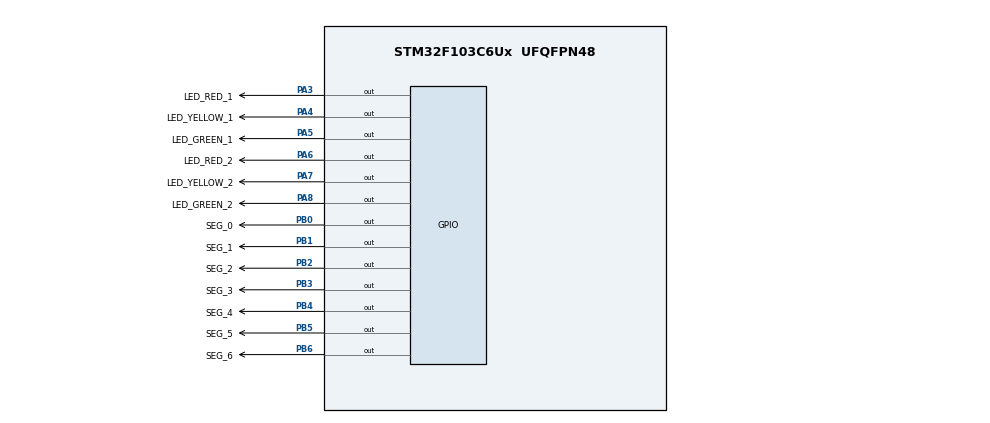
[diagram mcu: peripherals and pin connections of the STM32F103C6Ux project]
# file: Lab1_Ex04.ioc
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Mcu.Family=STM32F1
Mcu.Name=STM32F103C6Ux
Mcu.Package=UFQFPN48
NVIC.PriorityGroup=NVIC_PRIORITYGROUP_4
PA3.GPIO_Label=LED_RED_1
PA3.Signal=GPIO_Output
PA4.GPIO_Label=LED_YELLOW_1
PA4.Signal=GPIO_Output
PA5.GPIO_Label=LED_GREEN_1
PA5.Signal=GPIO_Output
PA6.GPIO_Label=LED_RED_2
PA6.Signal=GPIO_Output
PA7.GPIO_Label=LED_YELLOW_2
PA7.Signal=GPIO_Output
PA8.GPIO_Label=LED_GREEN_2
PA8.Signal=GPIO_Output
PB0.GPIO_Label=SEG_0
PB0.Signal=GPIO_Output
PB1.GPIO_Label=SEG_1
PB1.Signal=GPIO_Output
PB2.GPIO_Label=SEG_2
PB2.Signal=GPIO_Output
PB3.GPIO_Label=SEG_3
PB3.Signal=GPIO_Output
PB4.GPIO_Label=SEG_4
PB4.Signal=GPIO_Output
PB5.GPIO_Label=SEG_5
PB5.Signal=GPIO_Output
PB6.GPIO_Label=SEG_6
PB6.Signal=GPIO_Output
ProjectManager.HeapSize=0x200
ProjectManager.StackSize=0x400
ProjectManager.TargetToolchain=STM32CubeIDE
RCC.APB1Freq_Value=8000000
RCC.APB2Freq_Value=8000000
VP_SYS_VS_ND.Mode=No_Debug
board=custom

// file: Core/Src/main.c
/* USER CODE BEGIN Header */
/**
  ******************************************************************************
  * @file           : main.c
  * @brief          : Main program body
  ******************************************************************************
  * @attention
  *
  * <h2><center>&copy; Copyright (c) 2022 STMicroelectronics.
  * All rights reserved.</center></h2>
  *
  * This software component is licensed by ST under BSD 3-Clause license,
  * the "License"; You may not use this file except in compliance with the
  * License. You may obtain a copy of the License at:
  *                        opensource.org/licenses/BSD-3-Clause
  *
  ******************************************************************************
  */
/* USER CODE END Header */
#include "main.h"

void SystemClock_Config(void);
static void MX_GPIO_Init(void);

/* USER CODE BEGIN 0 */
void display7SEG (int num){
	if( num == 0){
		HAL_GPIO_WritePin(SEG_0_GPIO_Port, SEG_0_Pin, GPIO_PIN_RESET);
		HAL_GPIO_WritePin(SEG_1_GPIO_Port, SEG_1_Pin, GPIO_PIN_RESET);
		HAL_GPIO_WritePin(SEG_2_GPIO_Port, SEG_2_Pin, GPIO_PIN_RESET);
		HAL_GPIO_WritePin(SEG_3_GPIO_Port, SEG_3_Pin, GPIO_PIN_RESET);
		HAL_GPIO_WritePin(SEG_4_GPIO_Port, SEG_4_Pin, GPIO_PIN_RESET);
		HAL_GPIO_WritePin(SEG_5_GPIO_Port, SEG_5_Pin, GPIO_PIN_RESET);
		HAL_GPIO_WritePin(SEG_6_GPIO_Port, SEG_6_Pin,GPIO_PIN_SET);
	}

	if(num == 1){
		HAL_GPIO_WritePin(SEG_0_GPIO_Port, SEG_0_Pin, GPIO_PIN_SET);
		HAL_GPIO_WritePin(SEG_1_GPIO_Port, SEG_1_Pin, GPIO_PIN_RESET);
		HAL_GPIO_WritePin(SEG_2_GPIO_Port, SEG_2_Pin, GPIO_PIN_RESET);
		HAL_GPIO_WritePin(SEG_3_GPIO_Port, SEG_3_Pin, GPIO_PIN_SET );
		HAL_GPIO_WritePin(SEG_4_GPIO_Port, SEG_4_Pin, GPIO_PIN_SET);
		HAL_GPIO_WritePin(SEG_5_GPIO_Port, SEG_5_Pin, GPIO_PIN_SET);
		HAL_GPIO_WritePin(SEG_6_GPIO_Port, SEG_6_Pin, GPIO_PIN_SET);
	}

	if(num == 2){
		HAL_GPIO_WritePin(SEG_0_GPIO_Port, SEG_0_Pin, GPIO_PIN_RESET);
		HAL_GPIO_WritePin(SEG_1_GPIO_Port, SEG_1_Pin, GPIO_PIN_RESET);
		HAL_GPIO_WritePin(SEG_2_GPIO_Port, SEG_2_Pin, GPIO_PIN_SET);
		HAL_GPIO_WritePin(SEG_3_GPIO_Port, SEG_3_Pin, GPIO_PIN_RESET);
		HAL_GPIO_WritePin(SEG_4_GPIO_Port, SEG_4_Pin, GPIO_PIN_RESET);
		HAL_GPIO_WritePin(SEG_5_GPIO_Port, SEG_5_Pin, GPIO_PIN_SET);
		HAL_GPIO_WritePin(SEG_6_GPIO_Port, SEG_6_Pin, GPIO_PIN_RESET);
	}

	if(num == 3){
		HAL_GPIO_WritePin(SEG_0_GPIO_Port, SEG_0_Pin, GPIO_PIN_RESET);
		HAL_GPIO_WritePin(SEG_1_GPIO_Port, SEG_1_Pin, GPIO_PIN_RESET);
		HAL_GPIO_WritePin(SEG_2_GPIO_Port, SEG_2_Pin, GPIO_PIN_RESET);
		HAL_GPIO_WritePin(SEG_3_GPIO_Port, SEG_3_Pin, GPIO_PIN_RESET);
		HAL_GPIO_WritePin(SEG_4_GPIO_Port, SEG_4_Pin, GPIO_PIN_SET);
		HAL_GPIO_WritePin(SEG_5_GPIO_Port, SEG_5_Pin, GPIO_PIN_SET);
		HAL_GPIO_WritePin(SEG_6_GPIO_Port, SEG_6_Pin, GPIO_PIN_RESET);
	}

	if(num == 4){
		HAL_GPIO_WritePin(SEG_0_GPIO_Port, SEG_0_Pin, GPIO_PIN_SET);
		HAL_GPIO_WritePin(SEG_1_GPIO_Port, SEG_1_Pin, GPIO_PIN_RESET);
		HAL_GPIO_WritePin(SEG_2_GPIO_Port, SEG_2_Pin, GPIO_PIN_RESET);
		HAL_GPIO_WritePin(SEG_3_GPIO_Port, SEG_3_Pin, GPIO_PIN_SET);
		HAL_GPIO_WritePin(SEG_4_GPIO_Port, SEG_4_Pin, GPIO_PIN_SET);
		HAL_GPIO_WritePin(SEG_5_GPIO_Port, SEG_5_Pin, GPIO_PIN_RESET);
		HAL_GPIO_WritePin(SEG_6_GPIO_Port, SEG_6_Pin, GPIO_PIN_RESET);
	}

	if(num == 5){
		HAL_GPIO_WritePin(SEG_0_GPIO_Port, SEG_0_Pin, GPIO_PIN_RESET);
		HAL_GPIO_WritePin(SEG_1_GPIO_Port, SEG_1_Pin, GPIO_PIN_SET);
		HAL_GPIO_WritePin(SEG_2_GPIO_Port, SEG_2_Pin, GPIO_PIN_RESET);
		HAL_GPIO_WritePin(SEG_3_GPIO_Port, SEG_3_Pin, GPIO_PIN_RESET);
		HAL_GPIO_WritePin(SEG_4_GPIO_Port, SEG_4_Pin, GPIO_PIN_SET);
		HAL_GPIO_WritePin(SEG_5_GPIO_Port, SEG_5_Pin, GPIO_PIN_RESET);
		HAL_GPIO_WritePin(SEG_6_GPIO_Port, SEG_6_Pin, GPIO_PIN_RESET);
	}

	if(num == 6){
		HAL_GPIO_WritePin(SEG_0_GPIO_Port, SEG_0_Pin, GPIO_PIN_RESET);
		HAL_GPIO_WritePin(SEG_1_GPIO_Port, SEG_1_Pin, GPIO_PIN_SET);
		HAL_GPIO_WritePin(SEG_2_GPIO_Port, SEG_2_Pin, GPIO_PIN_RESET);
		HAL_GPIO_WritePin(SEG_3_GPIO_Port, SEG_3_Pin, GPIO_PIN_RESET);
		HAL_GPIO_WritePin(SEG_4_GPIO_Port, SEG_4_Pin, GPIO_PIN_RESET);
		HAL_GPIO_WritePin(SEG_5_GPIO_Port, SEG_5_Pin, GPIO_PIN_RESET);
		HAL_GPIO_WritePin(SEG_6_GPIO_Port, SEG_6_Pin, GPIO_PIN_RESET);
	}

	if(num == 7){
		HAL_GPIO_WritePin(SEG_0_GPIO_Port, SEG_0_Pin, GPIO_PIN_RESET);
		HAL_GPIO_WritePin(SEG_1_GPIO_Port, SEG_1_Pin, GPIO_PIN_RESET);
		HAL_GPIO_WritePin(SEG_2_GPIO_Port, SEG_2_Pin, GPIO_PIN_RESET);
		HAL_GPIO_WritePin(SEG_3_GPIO_Port, SEG_3_Pin, GPIO_PIN_SET);
		HAL_GPIO_WritePin(SEG_4_GPIO_Port, SEG_4_Pin, GPIO_PIN_SET);
		HAL_GPIO_WritePin(SEG_5_GPIO_Port, SEG_5_Pin, GPIO_PIN_SET);
		HAL_GPIO_WritePin(SEG_6_GPIO_Port, SEG_6_Pin, GPIO_PIN_SET);
	}

	if(num == 8){
		HAL_GPIO_WritePin(SEG_0_GPIO_Port, SEG_0_Pin, GPIO_PIN_RESET);
		HAL_GPIO_WritePin(SEG_1_GPIO_Port, SEG_1_Pin, GPIO_PIN_RESET);
		HAL_GPIO_WritePin(SEG_2_GPIO_Port, SEG_2_Pin, GPIO_PIN_RESET);
		HAL_GPIO_WritePin(SEG_3_GPIO_Port, SEG_3_Pin, GPIO_PIN_RESET);
		HAL_GPIO_WritePin(SEG_4_GPIO_Port, SEG_4_Pin, GPIO_PIN_RESET);
		HAL_GPIO_WritePin(SEG_5_GPIO_Port, SEG_5_Pin, GPIO_PIN_RESET);
		HAL_GPIO_WritePin(SEG_6_GPIO_Port, SEG_6_Pin, GPIO_PIN_RESET);
	}

	if(num == 9){
		HAL_GPIO_WritePin(SEG_0_GPIO_Port, SEG_0_Pin, GPIO_PIN_RESET);
		HAL_GPIO_WritePin(SEG_1_GPIO_Port, SEG_1_Pin, GPIO_PIN_RESET);
		HAL_GPIO_WritePin(SEG_2_GPIO_Port, SEG_2_Pin, GPIO_PIN_RESET);
		HAL_GPIO_WritePin(SEG_3_GPIO_Port, SEG_3_Pin, GPIO_PIN_RESET);
		HAL_GPIO_WritePin(SEG_4_GPIO_Port, SEG_4_Pin, GPIO_PIN_SET);
		HAL_GPIO_WritePin(SEG_5_GPIO_Port, SEG_5_Pin, GPIO_PIN_RESET);
		HAL_GPIO_WritePin(SEG_6_GPIO_Port, SEG_6_Pin, GPIO_PIN_RESET);
	}
}
/* USER CODE END 0 */

int main(void)
{

  /* MCU Configuration--------------------------------------------------------*/

  /* Reset of all peripherals, Initializes the Flash interface and the Systick. */
  HAL_Init();

  /* Configure the system clock */
  SystemClock_Config();

  /* Initialize all configured peripherals */
  MX_GPIO_Init();

  /* Infinite loop */
  /* USER CODE BEGIN WHILE */
  int counter = 0;
  while (1)
  {
    /* USER CODE END WHILE */

    /* USER CODE BEGIN 3 */
	  if(counter >= 10)
	  		  counter = 0;
	  display7SEG(counter++) ;
	  HAL_Delay(1000);
  }
  /* USER CODE END 3 */
}

void SystemClock_Config(void)
{
  RCC_OscInitTypeDef RCC_OscInitStruct = {0};
  RCC_ClkInitTypeDef RCC_ClkInitStruct = {0};

  /** Initializes the RCC Oscillators according to the specified parameters
  * in the RCC_OscInitTypeDef structure.
  */
  RCC_OscInitStruct.OscillatorType = RCC_OSCILLATORTYPE_HSI;
  RCC_OscInitStruct.HSIState = RCC_HSI_ON;
  RCC_OscInitStruct.HSICalibrationValue = RCC_HSICALIBRATION_DEFAULT;
  RCC_OscInitStruct.PLL.PLLState = RCC_PLL_NONE;
  if (HAL_RCC_OscConfig(&RCC_OscInitStruct) != HAL_OK)
  {
    Error_Handler();
  }
  /** Initializes the CPU, AHB and APB buses clocks
  */
  RCC_ClkInitStruct.ClockType = RCC_CLOCKTYPE_HCLK|RCC_CLOCKTYPE_SYSCLK
                              |RCC_CLOCKTYPE_PCLK1|RCC_CLOCKTYPE_PCLK2;
  RCC_ClkInitStruct.SYSCLKSource = RCC_SYSCLKSOURCE_HSI;
  RCC_ClkInitStruct.AHBCLKDivider = RCC_SYSCLK_DIV1;
  RCC_ClkInitStruct.APB1CLKDivider = RCC_HCLK_DIV1;
  RCC_ClkInitStruct.APB2CLKDivider = RCC_HCLK_DIV1;

  if (HAL_RCC_ClockConfig(&RCC_ClkInitStruct, FLASH_LATENCY_0) != HAL_OK)
  {
    Error_Handler();
  }
}

static void MX_GPIO_Init(void)
{
  GPIO_InitTypeDef GPIO_InitStruct = {0};

  /* GPIO Ports Clock Enable */
  __HAL_RCC_GPIOA_CLK_ENABLE();
  __HAL_RCC_GPIOB_CLK_ENABLE();

  /*Configure GPIO pin Output Level */
  HAL_GPIO_WritePin(GPIOA, LED_RED_1_Pin|LED_YELLOW_1_Pin|LED_GREEN_1_Pin|LED_RED_2_Pin
                          |LED_YELLOW_2_Pin|LED_GREEN_2_Pin, GPIO_PIN_RESET);

  /*Configure GPIO pin Output Level */
  HAL_GPIO_WritePin(GPIOB, SEG_0_Pin|SEG_1_Pin|SEG_2_Pin|SEG_3_Pin
                          |SEG_4_Pin|SEG_5_Pin|SEG_6_Pin, GPIO_PIN_RESET);

  /*Configure GPIO pins : LED_RED_1_Pin LED_YELLOW_1_Pin LED_GREEN_1_Pin LED_RED_2_Pin
                           LED_YELLOW_2_Pin LED_GREEN_2_Pin */
  GPIO_InitStruct.Pin = LED_RED_1_Pin|LED_YELLOW_1_Pin|LED_GREEN_1_Pin|LED_RED_2_Pin
                          |LED_YELLOW_2_Pin|LED_GREEN_2_Pin;
  GPIO_InitStruct.Mode = GPIO_MODE_OUTPUT_PP;
  GPIO_InitStruct.Pull = GPIO_NOPULL;
  GPIO_InitStruct.Speed = GPIO_SPEED_FREQ_LOW;
  HAL_GPIO_Init(GPIOA, &GPIO_InitStruct);

  /*Configure GPIO pins : SEG_0_Pin SEG_1_Pin SEG_2_Pin SEG_3_Pin
                           SEG_4_Pin SEG_5_Pin SEG_6_Pin */
  GPIO_InitStruct.Pin = SEG_0_Pin|SEG_1_Pin|SEG_2_Pin|SEG_3_Pin
                          |SEG_4_Pin|SEG_5_Pin|SEG_6_Pin;
  GPIO_InitStruct.Mode = GPIO_MODE_OUTPUT_PP;
  GPIO_InitStruct.Pull = GPIO_NOPULL;
  GPIO_InitStruct.Speed = GPIO_SPEED_FREQ_LOW;
  HAL_GPIO_Init(GPIOB, &GPIO_InitStruct);

}

void Error_Handler(void)
{
  __disable_irq();
  while (1)
  {
  }
}

/************************ (C) COPYRIGHT STMicroelectronics *****END OF FILE****/
